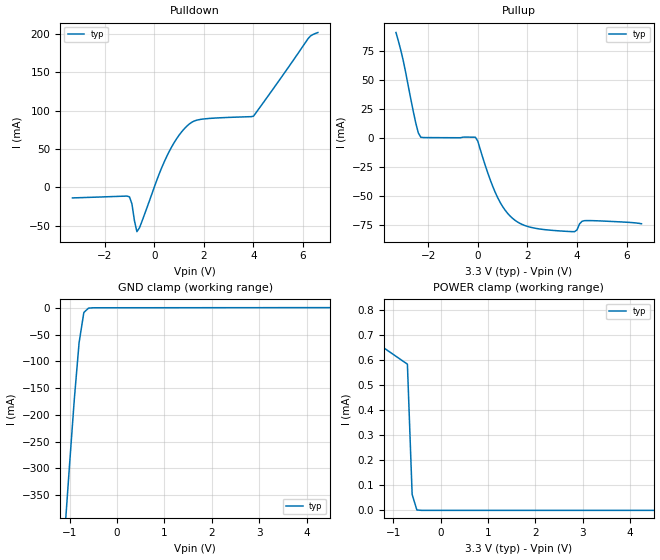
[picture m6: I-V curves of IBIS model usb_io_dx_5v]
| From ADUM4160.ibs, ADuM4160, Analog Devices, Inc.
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|   Model usb_io_dx_5v
| Models USB I/O pin with PWR clamp connected to VBUS2 = 5.0 V.
| (On-chip VDD voltage regulator is disabled).
| This model includes 18k ohm pulldown resistance in its GND_clamp,
| ...and thus is used for the DD+ and DD- pins (but not UD+ or UD-).
[Model]   usb_io_dx_5v
Model_type   I/O
Polarity   Non-Inverting
Vinl = 0.8V
Vinh = 2.0V
Vmeas = 1.5V
Cref = 50pF
Rref = 1e6
Vref = 0
C_comp   1.00pF   1.00pF   1.00pF
[Temperature Range]   27.00   125.00   -40.00
[Voltage Range]   3.30V   3.00V   3.60V
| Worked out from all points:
|   slope of the pulldown table from 0 to 0.495 V, typ, clamps not added: 12.5 ohm
|   slope of the pullup table from 0 to 0.495 V, typ, clamps not added: 15.1 ohm
|   GND clamp passes 1 mA (typ) near -0.60 V on its own axis
|   POWER clamp passes 1 mA (typ) near -2.86 V on its own axis
[GND_clamp]
| voltage(V) I(typ)(A)   I(min)(A)   I(max)(A)
-3.3V     -3.275A    NA         NA
-1.1V     -416.6mA   NA         NA
-1V       -291.1mA   NA         NA
-900mV    -169.7mA   NA         NA
-800mV    -65.11mA   NA         NA
-700mV    -8.84mA    NA         NA
-600mV    -635.4uA   NA         NA
6.6V      352.9uA    NA         NA
[POWER_clamp]
| Note that the[POWER_clamp]voltage table is referenced to Vcc
| and is calculated using Vtable = Vcc - Vmeasured.
| voltage(V) I(typ)(A)   I(min)(A)   I(max)(A)
-3.3V     11.76mA    NA         NA
-2.2V     807.9uA    NA         NA
-2V       768.4uA    NA         NA
-1.7V     717.3uA    NA         NA
-700mV    584.3uA    NA         NA
-600mV    63.59uA    NA         NA
-500mV    1.414uA    NA         NA
6.6V      0A         NA         NA
[Pulldown]
| voltage(V) I(typ)(A)   I(min)(A)   I(max)(A)
-3.3V     -13.98mA   NA         NA
-1V       -12.54mA   NA         NA
-900mV    -21.81mA   NA         NA
-800mV    -43.55mA   NA         NA
-700mV    -58mA      NA         NA
400mV     32.9mA     NA         NA
800mV     58.07mA    NA         NA
1.2V      75.87mA    NA         NA
1.8V      88.13mA    NA         NA
4V        92.63mA    NA         NA
6.2V      193.7mA    NA         NA
6.6V      201.9mA    NA         NA
[Pullup]
| Note that the[Pullup]voltage table is referenced to Vcc
| and is calculated using Vtable = Vcc - Vmeasured.
| voltage(V) I(typ)(A)   I(min)(A)   I(max)(A)
-3.3V     90.49mA    NA         NA
-3V       65.71mA    NA         NA
-2.5V     12.67mA    NA         NA
-2.3V     693uA      NA         NA
-100mV    713.7uA    NA         NA
800mV     -51.11mA   NA         NA
1.1V      -61.87mA   NA         NA
1.5V      -70.57mA   NA         NA
2.3V      -77.35mA   NA         NA
3.8V      -80.3mA    NA         NA
4.3V      -70.88mA   NA         NA
6.6V      -73.53mA   NA         NA
[Ramp]
|variable   typ   min   max
dV/dt_r   1.980/5.0n   NA   NA
dV/dt_f   1.980/5.0n   NA   NA
R_load = 1MEG
| End [Model] usb_io_dx_5v
| End [Component] ADuM4160
